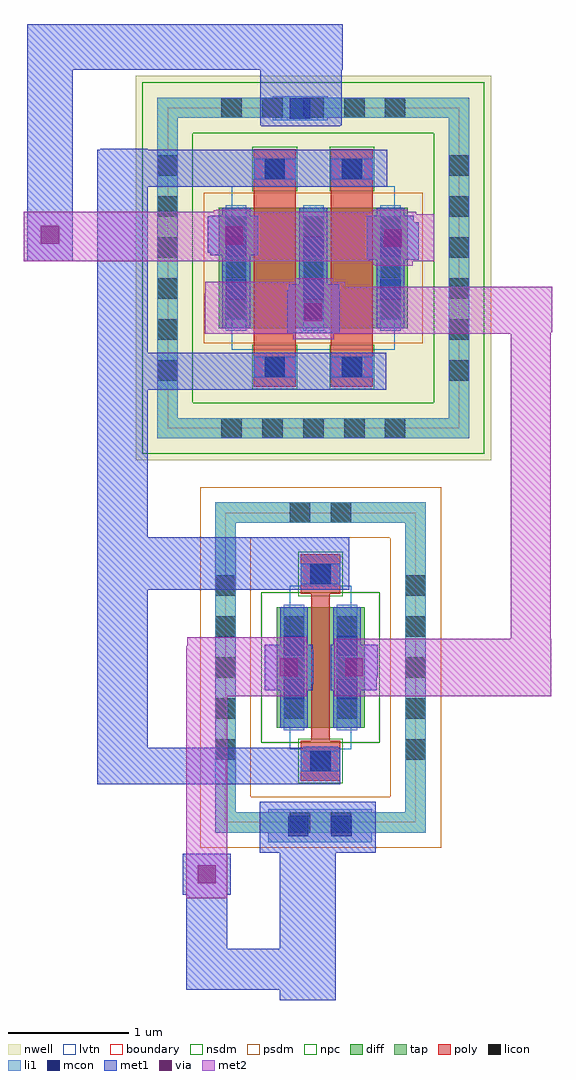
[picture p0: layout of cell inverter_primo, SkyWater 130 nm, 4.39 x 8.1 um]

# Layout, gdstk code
import gdstk
lib = gdstk.Library(unit=1e-6, precision=1e-09)
def R(c, l, rs):  # rectangles x0, y0, x1, y1
    for r in rs: c.add(gdstk.rectangle(r[:2], r[2:], *l))
def A(c, l, x, y, w, h, nx, ny, dx, dy):  # array of equal rectangles
    R(c, l, [(x+i*dx, y+j*dy, x+i*dx+w, y+j*dy+h) for i in range(nx) for j in range(ny)])
nwell = (64, 20)
diff = (65, 20)
tap = (65, 44)
poly = (66, 20)
licon = (66, 44)
li1 = (67, 20)
mcon = (67, 44)
met1 = (68, 20)
via = (68, 44)
met2 = (69, 20)
nsdm = (93, 44)
psdm = (94, 20)
npc = (95, 20)
lvtn = (125, 44)
boundary = (235, 4)

sky130_fd_pr__pfet_01v8_ = lib.new_cell('sky130_fd_pr__pfet_01v8_lvt_4Q3NH3')
R(sky130_fd_pr__pfet_01v8_, nwell, [(-1.475,-1.595,1.475,1.595)])
R(sky130_fd_pr__pfet_01v8_, diff, [(-0.785,-0.5,0.785,0.5)])
R(sky130_fd_pr__pfet_01v8_, tap, [(-1.295,-1.415,1.295,-1.245), (-1.295,-1.245,-1.125,1.245), (1.125,-1.245,1.295,1.245), (-1.295,1.245,1.295,1.415)])
R(sky130_fd_pr__pfet_01v8_, poly, [(-0.495,-0.985,-0.145,0.985), (0.145,-0.985,0.495,0.985)])
A(sky130_fd_pr__pfet_01v8_, licon, -0.765, -1.415, 0.17, 0.17, 5, 2, 0.34, 2.66)
A(sky130_fd_pr__pfet_01v8_, licon, -1.295, -0.935, 0.17, 0.17, 1, 6, 0, 0.34)
A(sky130_fd_pr__pfet_01v8_, licon, 1.125, -0.935, 0.17, 0.17, 1, 6, 0, 0.34)
A(sky130_fd_pr__pfet_01v8_, licon, -0.725, -0.425, 0.17, 0.17, 3, 3, 0.64, 0.34)
R(sky130_fd_pr__pfet_01v8_, licon, [(-0.405,-0.905,-0.235,-0.735), (0.235,-0.905,0.405,-0.735), (-0.405,0.735,-0.235,0.905), (0.235,0.735,0.405,0.905)])
A(sky130_fd_pr__pfet_01v8_, li1, -0.725, -0.52, 0.17, 1.04, 3, 1, 0.64, 0)
R(sky130_fd_pr__pfet_01v8_, li1, [(-1.295,-1.415,1.295,-1.245), (-1.295,-1.245,-1.125,1.245), (1.125,-1.245,1.295,1.245), (-0.495,-0.905,-0.145,-0.735), (0.145,-0.905,0.495,-0.735), (-0.495,0.735,-0.145,0.905), (0.145,0.735,0.495,0.905), (-1.295,1.245,1.295,1.415)])
A(sky130_fd_pr__pfet_01v8_, mcon, -0.725, -0.265, 0.17, 0.17, 3, 2, 0.64, 0.36)
R(sky130_fd_pr__pfet_01v8_, mcon, [(-0.405,-0.905,-0.235,-0.735), (0.235,-0.905,0.405,-0.735), (-0.405,0.735,-0.235,0.905), (0.235,0.735,0.405,0.905)])
A(sky130_fd_pr__pfet_01v8_, met1, -0.755, -0.5, 0.23, 1, 3, 1, 0.64, 0)
R(sky130_fd_pr__pfet_01v8_, met1, [(-0.475,-0.935,-0.165,-0.705), (0.165,-0.935,0.475,-0.705), (-0.475,0.705,-0.165,0.935), (0.165,0.705,0.475,0.935)])
R(sky130_fd_pr__pfet_01v8_, nsdm, [(-1.42,-1.54,1.42,-1.12), (-1.42,-1.12,-1,1.12), (1,-1.12,1.42,1.12), (-1.42,1.12,1.42,1.54)])
R(sky130_fd_pr__pfet_01v8_, psdm, [(-0.91,-0.625,0.91,0.625)])
R(sky130_fd_pr__pfet_01v8_, npc, [(-0.505,-1.005,-0.135,-0.635), (0.135,-1.005,0.505,-0.635), (-0.505,0.635,-0.135,1.005), (0.135,0.635,0.505,1.005)])
R(sky130_fd_pr__pfet_01v8_, lvtn, [(-0.675,-0.68,0.675,0.68)])
R(sky130_fd_pr__pfet_01v8_, boundary, [(-1.21,-1.33,1.21,1.33)])

sky130_fd_pr__nfet_01v8_ = lib.new_cell('sky130_fd_pr__nfet_01v8_lvt_648S5X')
R(sky130_fd_pr__nfet_01v8_, diff, [(-0.365,-0.5,0.365,0.5)])
R(sky130_fd_pr__nfet_01v8_, tap, [(-0.875,-1.37,0.875,-1.2), (-0.875,-1.2,-0.705,1.2), (0.705,-1.2,0.875,1.2), (-0.875,1.2,0.875,1.37)])
R(sky130_fd_pr__nfet_01v8_, poly, [(-0.165,-0.94,0.165,-0.61), (-0.075,-0.61,0.075,0.61), (-0.165,0.61,0.165,0.94)])
A(sky130_fd_pr__nfet_01v8_, licon, -0.875, -0.765, 0.17, 0.17, 1, 5, 0, 0.34)
A(sky130_fd_pr__nfet_01v8_, licon, 0.705, -0.765, 0.17, 0.17, 1, 5, 0, 0.34)
A(sky130_fd_pr__nfet_01v8_, licon, -0.305, -0.425, 0.17, 0.17, 1, 3, 0, 0.34)
A(sky130_fd_pr__nfet_01v8_, licon, 0.135, -0.425, 0.17, 0.17, 1, 3, 0, 0.34)
R(sky130_fd_pr__nfet_01v8_, licon, [(-0.255,-1.37,-0.085,-1.2), (0.085,-1.37,0.255,-1.2), (-0.085,-0.86,0.085,-0.69), (-0.085,0.69,0.085,0.86), (-0.255,1.2,-0.085,1.37), (0.085,1.2,0.255,1.37)])
R(sky130_fd_pr__nfet_01v8_, li1, [(-0.875,-1.37,0.875,-1.2), (-0.875,-1.2,-0.705,1.2), (0.705,-1.2,0.875,1.2), (-0.165,-0.86,0.165,-0.69), (-0.305,-0.52,-0.135,0.52), (0.135,-0.52,0.305,0.52), (-0.165,0.69,0.165,0.86), (-0.875,1.2,0.875,1.37)])
R(sky130_fd_pr__nfet_01v8_, mcon, [(-0.085,-0.86,0.085,-0.69), (-0.305,-0.265,-0.135,-0.095), (0.135,-0.265,0.305,-0.095), (-0.305,0.095,-0.135,0.265), (0.135,0.095,0.305,0.265), (-0.085,0.69,0.085,0.86)])
R(sky130_fd_pr__nfet_01v8_, met1, [(-0.145,-0.89,0.145,-0.66), (-0.335,-0.5,-0.105,0.5), (0.105,-0.5,0.335,0.5), (-0.145,0.66,0.145,0.89)])
R(sky130_fd_pr__nfet_01v8_, nsdm, [(-0.49,-0.625,0.49,0.625)])
R(sky130_fd_pr__nfet_01v8_, psdm, [(-1,-1.495,1,-1.075), (-1,-1.075,-0.58,1.075), (0.58,-1.075,1,1.075), (-1,1.075,1,1.495)])
R(sky130_fd_pr__nfet_01v8_, npc, [(-0.185,-0.96,0.185,-0.59), (-0.185,0.59,0.185,0.96)])
R(sky130_fd_pr__nfet_01v8_, lvtn, [(-0.255,-0.68,0.255,0.68)])
R(sky130_fd_pr__nfet_01v8_, boundary, [(-0.79,-1.285,0.79,1.285)])

inverter_primo = lib.new_cell('inverter_primo')
R(inverter_primo, li1, [(2.72,4.8,3.58,5.075), (2.76,10.79,3.215,10.99)])
R(inverter_primo, mcon, [(2.885,4.85,3.055,5.02), (3.245,4.85,3.415,5.02), (2.9,10.805,3.07,10.975)])
R(inverter_primo, met1, [(2.815,3.49,3.28,3.575), (2.04,3.575,3.28,3.915), (2.04,3.915,2.38,4.365), (2.815,3.915,3.28,4.71), (2.01,4.365,2.41,4.705), (2.65,4.71,3.615,5.135), (1.3,5.28,3.32,5.585), (1.3,5.585,1.72,6.895), (2.69,6.06,3.09,6.115), (3.24,6.06,3.62,6.17), (2.69,6.115,3.095,6.395), (3.24,6.17,3.63,6.44), (2.69,6.395,3.09,6.44), (1.3,6.895,3.395,7.33), (1.3,7.33,1.72,8.555), (1.3,8.555,3.7,8.86), (1.3,8.86,1.72,10.24), (2.88,9.025,3.315,9.38), (2.89,9.38,3.31,9.43), (0.72,9.62,1.1,11.21), (3.555,9.635,3.97,9.64), (3.54,9.64,3.97,9.945), (2.24,9.67,2.64,9.69), (2.22,9.69,2.64,9.995), (3.54,9.945,3.93,10), (2.24,9.995,2.64,10), (1.3,10.24,3.71,10.545), (1.325,10.545,1.72,10.555), (2.665,10.74,3.32,10.75), (2.655,10.75,3.33,11.21), (0.72,11.21,3.34,11.59)])
R(inverter_primo, via, [(2.135,4.46,2.285,4.61), (2.815,6.175,2.965,6.325), (3.355,6.175,3.505,6.325), (3.02,9.125,3.17,9.275), (3.68,9.74,3.83,9.89), (2.365,9.76,2.515,9.91), (0.835,9.765,0.985,9.915)])
R(inverter_primo, met2, [(2.04,4.335,2.38,6.01), (2.04,6.01,3.04,6.065), (3.27,6.01,5.07,6.49), (2.04,6.065,3.045,6.425), (2.05,6.425,3.045,6.445), (2.05,6.445,3.04,6.5), (4.735,6.49,5.065,9.02), (2.93,8.975,3.265,9.02), (2.195,9.02,5.065,9.03), (2.195,9.03,5.08,9.35), (2.2,9.35,5.08,9.41), (2.2,9.41,3.36,9.45), (2.94,9.45,3.26,9.48), (3.605,9.585,3.92,9.59), (3.59,9.59,3.92,9.62), (0.69,9.62,4.1,10.01), (0.69,10.01,3.95,10.03), (2.27,10.03,2.59,10.045), (3.59,10.03,3.88,10.05), (2.29,10.045,2.59,10.05)])
inverter_primo.add(gdstk.Reference(sky130_fd_pr__pfet_01v8_, (3.095,9.565)))
inverter_primo.add(gdstk.Reference(sky130_fd_pr__nfet_01v8_, (3.155,6.25)))

lib.write_gds('inverter_primo.gds')
